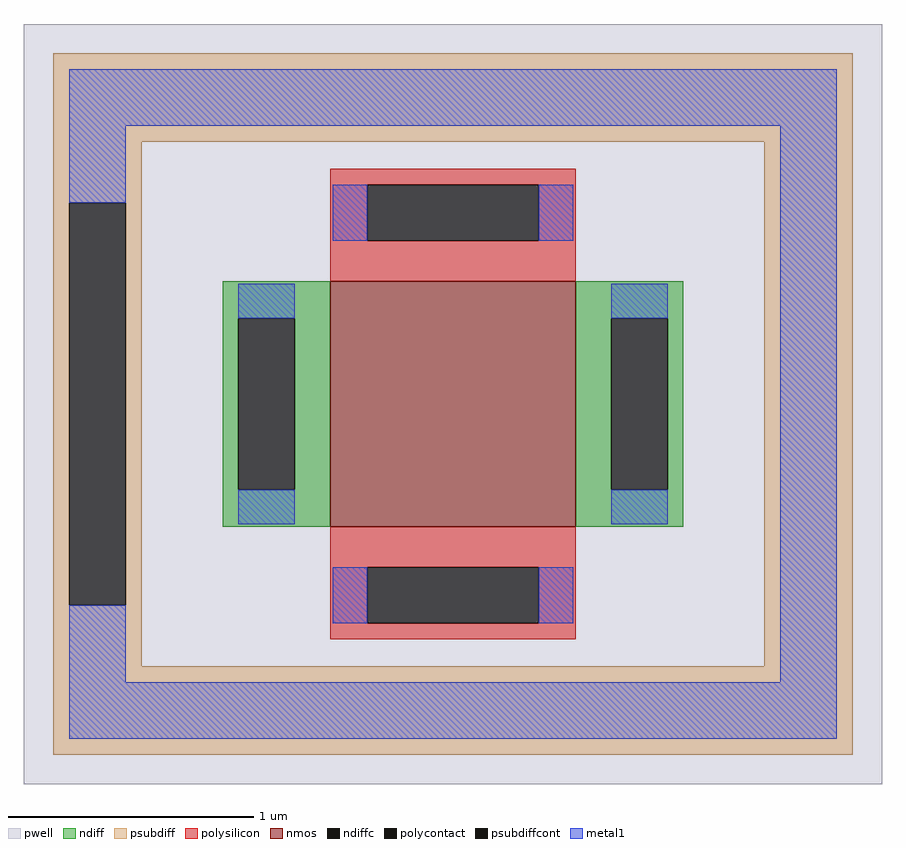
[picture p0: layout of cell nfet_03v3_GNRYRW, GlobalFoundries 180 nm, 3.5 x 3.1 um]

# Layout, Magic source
magic
tech gf180mcuD
magscale 1 10
<< pwell >>
rect -350 -310 350 310
<< nmos >>
rect -100 -100 100 100
<< ndiff >>
rect -188 70 -100 100
rect -188 -70 -175 70
rect -129 -70 -100 70
rect -188 -100 -100 -70
rect 100 70 188 100
rect 100 -70 129 70
rect 175 -70 188 70
rect 100 -100 188 -70
<< ndiffc >>
rect -175 -70 -129 70
rect 129 -70 175 70
<< psubdiff >>
rect -326 214 326 286
rect -326 164 -254 214
rect -326 -164 -313 164
rect -267 -164 -254 164
rect -326 -214 -254 -164
rect 254 -214 326 214
rect -326 -286 326 -214
<< psubdiffcont >>
rect -313 -164 -267 164
<< polysilicon >>
rect -100 179 100 192
rect -100 133 -70 179
rect 70 133 100 179
rect -100 100 100 133
rect -100 -133 100 -100
rect -100 -179 -70 -133
rect 70 -179 100 -133
rect -100 -192 100 -179
<< polycontact >>
rect -70 133 70 179
rect -70 -179 70 -133
<< metal1 >>
rect -313 227 313 273
rect -313 164 -267 227
rect -98 133 -70 179
rect 70 133 98 179
rect -175 70 -129 98
rect -175 -98 -129 -70
rect 129 70 175 98
rect 129 -98 175 -70
rect -313 -227 -267 -164
rect -98 -179 -70 -133
rect 70 -179 98 -133
rect 267 -227 313 227
rect -313 -273 313 -227
<< properties >>
string FIXED_BBOX -290 -250 290 250
<< end >>
